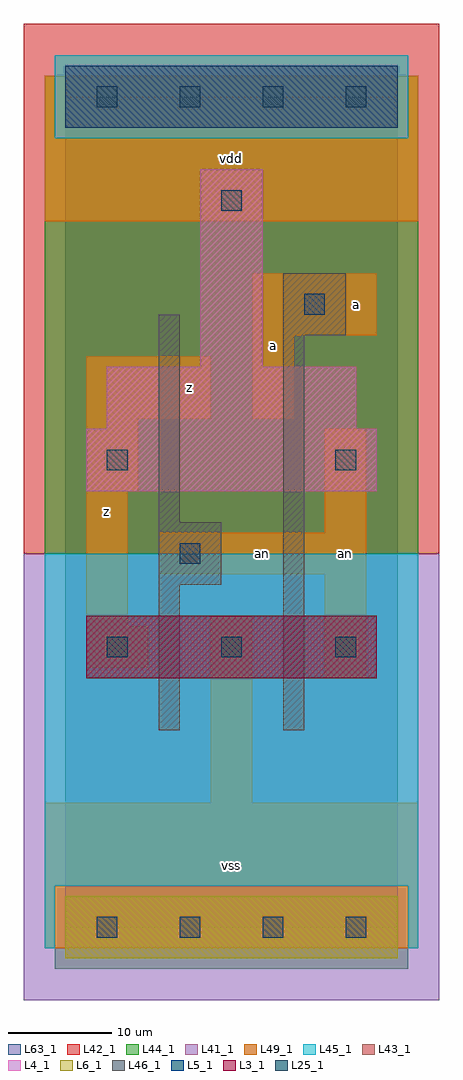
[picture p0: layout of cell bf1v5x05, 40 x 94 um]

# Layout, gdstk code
import gdstk
lib = gdstk.Library(unit=1e-6, precision=1e-09)
def R(c, l, rs):  # rectangles x0, y0, x1, y1
    for r in rs: c.add(gdstk.rectangle(r[:2], r[2:], *l))
def A(c, l, x, y, w, h, nx, ny, dx, dy):  # array of equal rectangles
    R(c, l, [(x+i*dx, y+j*dy, x+i*dx+w, y+j*dy+h) for i in range(nx) for j in range(ny)])
L3_1 = (3, 1)
L4_1 = (4, 1)
L5_1 = (5, 1)
L6_1 = (6, 1)
L25_1 = (25, 1)
L41_1 = (41, 1)
L42_1 = (42, 1)
L43_1 = (43, 1)
L44_1 = (44, 1)
L45_1 = (45, 1)
L46_1 = (46, 1)
L49_1 = (49, 1)
L63_1 = (63, 1)

bf1v5x05 = lib.new_cell('bf1v5x05')
R(bf1v5x05, L3_1, [(2,24,30,30)])
R(bf1v5x05, L4_1, [(2,42,30,48), (4,48,28,54), (13,54,19,73)])
R(bf1v5x05, L5_1, [(0,77,32,83)])
R(bf1v5x05, L6_1, [(0,-3,32,3), (0,-3,32,3)])
A(bf1v5x05, L25_1, 3, -1, 2, 2, 4, 2, 8, 80)
A(bf1v5x05, L25_1, 4, 26, 2, 2, 3, 1, 11, 0)
R(bf1v5x05, L25_1, [(11,35,13,37), (4,44,6,46), (26,44,28,46), (23,59,25,61), (15,69,17,71)])
R(bf1v5x05, L41_1, [(-4,-7,36,36)])
R(bf1v5x05, L42_1, [(-4,36,36,87)])
R(bf1v5x05, L43_1, [(0,-3,32,3), (2,24,30,30), (2,42,30,48), (4,48,28,54), (13,54,19,73), (0,77,32,83)])
R(bf1v5x05, L44_1, [(-1,-4,33,4), (-2,36,34,76), (-2,76,-1,82), (33,76,34,82)])
R(bf1v5x05, L45_1, [(-2,-2,-1,4), (33,-2,34,4), (-2,4,34,36), (-1,76,33,84)])
R(bf1v5x05, L46_1, [(9,19,11,33), (21,19,23,57), (9,33,15,39), (9,39,11,59), (21,57,27,63)])
R(bf1v5x05, L49_1, [(-2,-2,34,12), (14,12,18,30), (25,24,29,34), (2,25,8,29), (2,29,6,42), (9,34,29,38), (25,38,29,48), (2,42,7,49), (2,49,14,55), (18,49,22,57), (18,57,30,63), (-2,68,34,82)])
R(bf1v5x05, L63_1, [(0,0,32,80)])
bf1v5x05.add(gdstk.Label('z', (4,40), layer=49, texttype=1))
bf1v5x05.add(gdstk.Label('z', (12,52), layer=49, texttype=1))
bf1v5x05.add(gdstk.Label('vss', (16,6), layer=49, texttype=1))
bf1v5x05.add(gdstk.Label('a', (20,56), layer=49, texttype=1))
bf1v5x05.add(gdstk.Label('vdd', (16,74), layer=49, texttype=1))
bf1v5x05.add(gdstk.Label('an', (19,36), layer=49, texttype=1))
bf1v5x05.add(gdstk.Label('an', (27,36), layer=49, texttype=1))
bf1v5x05.add(gdstk.Label('a', (28,60), layer=49, texttype=1))

lib.write_gds('bf1v5x05.gds')
